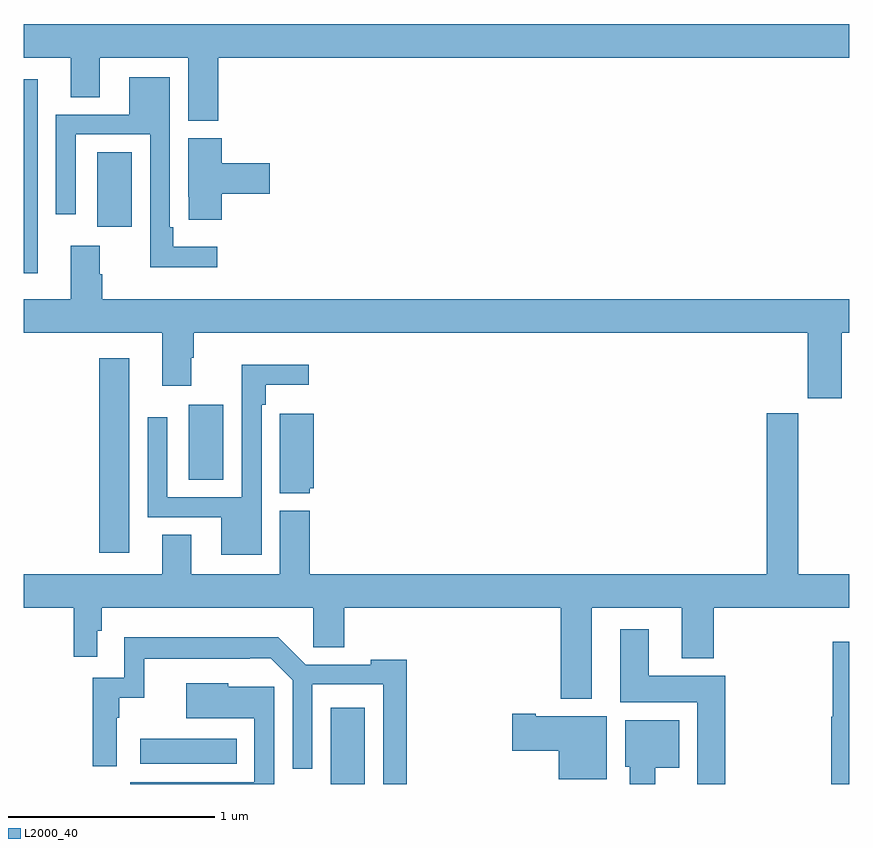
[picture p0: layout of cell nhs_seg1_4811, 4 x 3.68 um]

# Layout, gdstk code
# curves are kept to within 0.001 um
import gdstk
lib = gdstk.Library(unit=1e-6, precision=1e-09)
def R(c, l, rs):  # rectangles x0, y0, x1, y1
    for r in rs: c.add(gdstk.rectangle(r[:2], r[2:], *l))
def P(c, l, *ps):  # polygons
    for p in ps: c.add(gdstk.Polygon(p, *l))
L2000_40 = (2000, 40)

nhs_seg1_4811 = lib.new_cell('nhs_seg1_4811')
R(nhs_seg1_4811, L2000_40, [(372.488,564.199,372.652,564.568), (371.565,564.296,372.032,564.418), (371.366,565.32,371.512,566.26), (371.801,565.672,371.968,566.035), (371,566.673,371.068,567.613), (371.357,566.898,371.524,567.26)])
P(nhs_seg1_4811, L2000_40, [(371.942,567.716),(375,567.716),(375,567.88),(371,567.88),(371,567.716),(371.228,567.716),(371.228,567.526),(371.368,567.526),(371.368,567.716),(371.798,567.716),(371.798,567.412),(371.942,567.412)],
  [(371.938,566.8),(371.725,566.8),(371.725,566.896),(371.709,566.896),(371.709,567.622),(371.513,567.622),(371.513,567.441),(371.157,567.441),(371.157,566.958),(371.253,566.958),(371.253,567.345),(371.613,567.345),(371.613,566.702),(371.938,566.702)],
  [(371.96,567.059),(372.193,567.059),(372.193,567.206),(371.96,567.206),(371.96,567.327),(371.798,567.327),(371.798,567.043),(371.799,567.043),(371.799,566.931),(371.96,566.931)],
  [(374.962,566.384),(375,566.384),(375,566.548),(371.381,566.548),(371.381,566.669),(371.368,566.669),(371.368,566.806),(371.228,566.806),(371.228,566.548),(371,566.548),(371,566.384),(371.672,566.384),(371.672,566.127),(371.812,566.127),(371.812,566.264),(371.825,566.264),(371.825,566.384),(374.798,566.384),(374.798,566.067),(374.962,566.067)],
  [(372.153,566.036),(372.173,566.036),(372.173,566.132),(372.382,566.132),(372.382,566.23),(372.057,566.23),(372.057,565.587),(371.697,565.587),(371.697,565.975),(371.601,565.975),(371.601,565.491),(371.957,565.491),(371.957,565.31),(372.153,565.31)],
  [(373.753,565.052),(374.189,565.052),(374.189,564.809),(374.342,564.809),(374.342,565.052),(375,565.052),(375,565.216),(374.752,565.216),(374.752,565.995),(374.6,565.995),(374.6,565.216),(372.386,565.216),(372.386,565.522),(372.242,565.522),(372.242,565.216),(371.812,565.216),(371.812,565.406),(371.672,565.406),(371.672,565.216),(371,565.216),(371,565.052),(371.242,565.052),(371.242,564.816),(371.358,564.816),(371.358,564.942),(371.378,564.942),(371.378,565.052),(372.403,565.052),(372.403,564.862),(372.554,564.862),(372.554,565.052),(373.601,565.052),(373.601,564.611),(373.753,564.611)],
  [(372.387,565.632),(372.406,565.632),(372.406,565.993),(372.242,565.993),(372.242,565.607),(372.387,565.607)],
  [(374.399,564.724),(374.029,564.724),(374.029,564.949),(373.889,564.949),(373.889,564.596),(374.264,564.596),(374.264,564.199),(374.399,564.199)],
  [(372.857,564.802),(372.681,564.802),(372.681,564.777),(372.366,564.777),(372.233,564.91),(371.487,564.91),(371.487,564.714),(371.335,564.714),(371.335,564.285),(371.451,564.285),(371.451,564.521),(371.464,564.521),(371.464,564.617),(371.585,564.617),(371.585,564.806),(372.198,564.807),(372.303,564.702),(372.303,564.273),(372.399,564.273),(372.399,564.681),(372.741,564.681),(372.741,564.199),(372.857,564.199)],
  [(375,564.889),(374.918,564.889),(374.918,564.525),(374.912,564.525),(374.912,564.199),(375,564.199)],
  [(372.213,564.669),(371.991,564.669),(371.991,564.688),(371.789,564.688),(371.789,564.518),(372.117,564.518),(372.117,564.207),(371.516,564.207),(371.516,564.199),(372.213,564.199)],
  [(373.825,564.526),(373.48,564.526),(373.48,564.539),(373.368,564.539),(373.368,564.361),(373.592,564.361),(373.592,564.221),(373.825,564.221)],
  [(374.059,564.278),(374.176,564.278),(374.176,564.508),(373.913,564.508),(373.913,564.282),(373.937,564.282),(373.937,564.199),(374.059,564.199)])

lib.write_gds('nhs_seg1_4811.gds')
